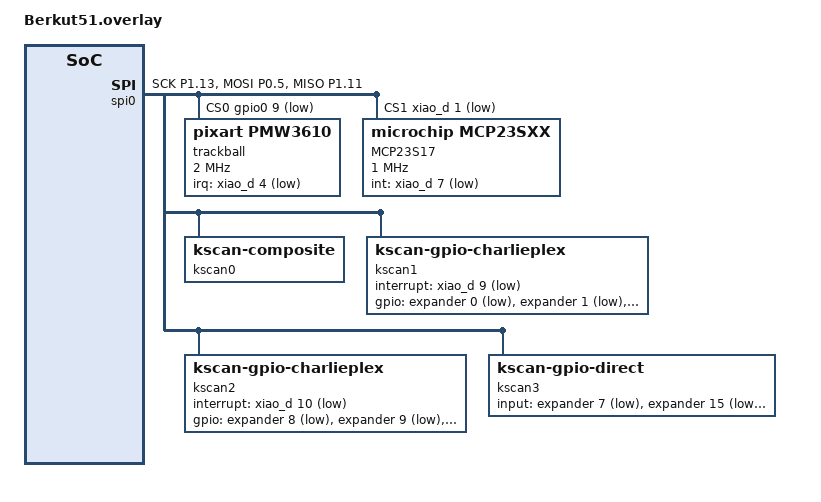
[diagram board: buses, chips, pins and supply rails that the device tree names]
#include <input/processors.dtsi>
#include <dt-bindings/zmk/input_transform.h>
#include <zephyr/dt-bindings/input/input-event-codes.h>
#include <input/processors/runtime-input-processor.dtsi>

#include "Berkut51.dtsi"
#include "Berkut51_TB.dsti"

&pinctrl {
    spi0_default: spi0_default {
        group1 {
            psels = <NRF_PSEL(SPIM_SCK,  1, 13)>,
                    <NRF_PSEL(SPIM_MOSI, 0, 5)>,
                    <NRF_PSEL(SPIM_MISO, 1, 11)>;
        };
    };

    spi0_sleep: spi0_sleep {
        group1 {
            psels = <NRF_PSEL(SPIM_SCK,  1, 13)>,
                    <NRF_PSEL(SPIM_MOSI, 0, 5)>,
                    <NRF_PSEL(SPIM_MISO, 1, 11)>;
            low-power-enable;
        };
    };
};

&spi0 {
    status = "okay";
    compatible = "nordic,nrf-spim";
    pinctrl-0 = <&spi0_default>;
    pinctrl-1 = <&spi0_sleep>;
    pinctrl-names = "default", "sleep";
    cs-gpios = <&gpio0 9 GPIO_ACTIVE_LOW>, 
               <&xiao_d 1 GPIO_ACTIVE_LOW>;

    trackball: trackball@0 {
        status = "okay";
        compatible = "pixart,pmw3610";
        reg = <0>;
        spi-max-frequency = <2000000>;
        irq-gpios = <&xiao_d 4 (GPIO_ACTIVE_LOW | GPIO_PULL_UP)>;
        cpi = <800>;
        evt-type = <INPUT_EV_REL>;
        x-input-code = <INPUT_REL_X>;
        y-input-code = <INPUT_REL_Y>;
    };

    expander: expander@1 {
        status = "okay";
        compatible = "microchip,mcp23sxx";
        spi-max-frequency = <1000000>;
        reg = <1>;
        gpio-controller;
        label = "MCP23S17";
        #gpio-cells = <2>;
        ngpios = <16>;
        int-gpios = <&xiao_d 7 GPIO_ACTIVE_LOW>;
    };
    
    kscan0: kscan_composite {
        compatible = "zmk,kscan-composite";
        matrix1 {
            kscan = <&kscan1>;
        };
        
        matrix2 {
            kscan = <&kscan2>;
            col-offset = <8>;
        };

        direct {
            kscan = <&kscan3>;
            row-offset = <8>;
        };
    };

    kscan1: kscan1 {
        compatible = "zmk,kscan-gpio-charlieplex";
        interrupt-gpios = <&xiao_d 9 (GPIO_ACTIVE_LOW)>;
        gpios
            = <&expander 0 (GPIO_ACTIVE_LOW)>
            , <&expander 1 (GPIO_ACTIVE_LOW)>
            , <&expander 2 (GPIO_ACTIVE_LOW)>
            , <&expander 3 (GPIO_ACTIVE_LOW)>
            , <&expander 4 (GPIO_ACTIVE_LOW)>
            , <&expander 5 (GPIO_ACTIVE_LOW)>
            , <&expander 6 (GPIO_ACTIVE_LOW)>
            ;
    };
    
    kscan2: kscan2 {
        compatible = "zmk,kscan-gpio-charlieplex";
        interrupt-gpios = <&xiao_d 10 (GPIO_ACTIVE_LOW)>;
        gpios
            = <&expander 8 (GPIO_ACTIVE_LOW)>
            , <&expander 9 (GPIO_ACTIVE_LOW)>
            , <&expander 10 (GPIO_ACTIVE_LOW)>
            , <&expander 11 (GPIO_ACTIVE_LOW)>
            , <&expander 12 (GPIO_ACTIVE_LOW)>
            , <&expander 13 (GPIO_ACTIVE_LOW)>
            , <&expander 14  (GPIO_ACTIVE_LOW)>
            ;
    };

    kscan3: kscan3 {
        compatible = "zmk,kscan-gpio-direct";
        input-gpios
            = <&expander 7 (GPIO_ACTIVE_LOW | GPIO_PULL_UP)>
            , <&expander 15 (GPIO_ACTIVE_LOW | GPIO_PULL_UP)>
            , <&gpio0 10 (GPIO_ACTIVE_LOW | GPIO_PULL_UP)>
            ;
    };
};
